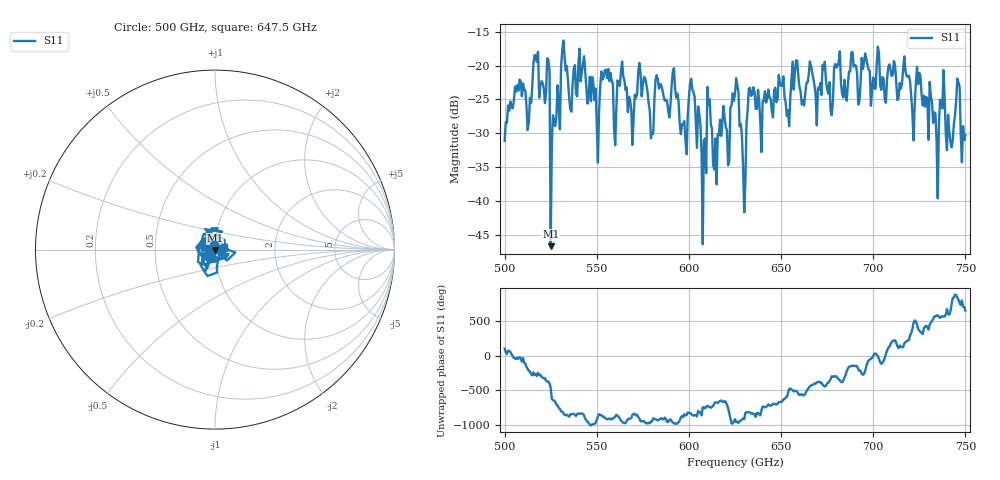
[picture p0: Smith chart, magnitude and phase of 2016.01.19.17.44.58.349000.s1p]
!Created with skrf (http://scikit-rf.org).
# GHz S RI R 50.0
!freq ReS11 ImS11
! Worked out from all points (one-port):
!   401 points, 500 GHz to 750 GHz, reference 50 ohm
!   lowest |S11| = -46.6 dB at 525 GHz (marker M1), VSWR 1.01, Z = 49.9 - j0.459 ohm
!   |S11| at or under -10 dB: start of sweep to end of sweep
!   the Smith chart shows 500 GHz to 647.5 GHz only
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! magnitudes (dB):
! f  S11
! 500 GHz  -31.1
! 507.5 GHz  -23.7
! 513.1 GHz  -28.4
! 516.9 GHz  -18.5
! 523.1 GHz  -18.9
! 525 GHz  -46.6
! 526.2 GHz  -27.3
! 531.2 GHz  -17.8
! 550 GHz  -28.6
! 562.5 GHz  -23.0
! 579.4 GHz  -30.7
! 583.1 GHz  -22.0
! 593.8 GHz  -24.1
! 597.5 GHz  -28.2
! 601.9 GHz  -23.6
! 608.1 GHz  -31.1
! 611.2 GHz  -25.0
! 614.4 GHz  -30.8
! 625 GHz  -24.2
! 630 GHz  -41.6
! 633.8 GHz  -24.5
! 656.2 GHz  -19.4
! 687.5 GHz  -20.9
! 718.8 GHz  -21.7
! 733.8 GHz  -27.1
! 742.5 GHz  -32.1
! 745.6 GHz  -21.9
! 750 GHz  -30.3
